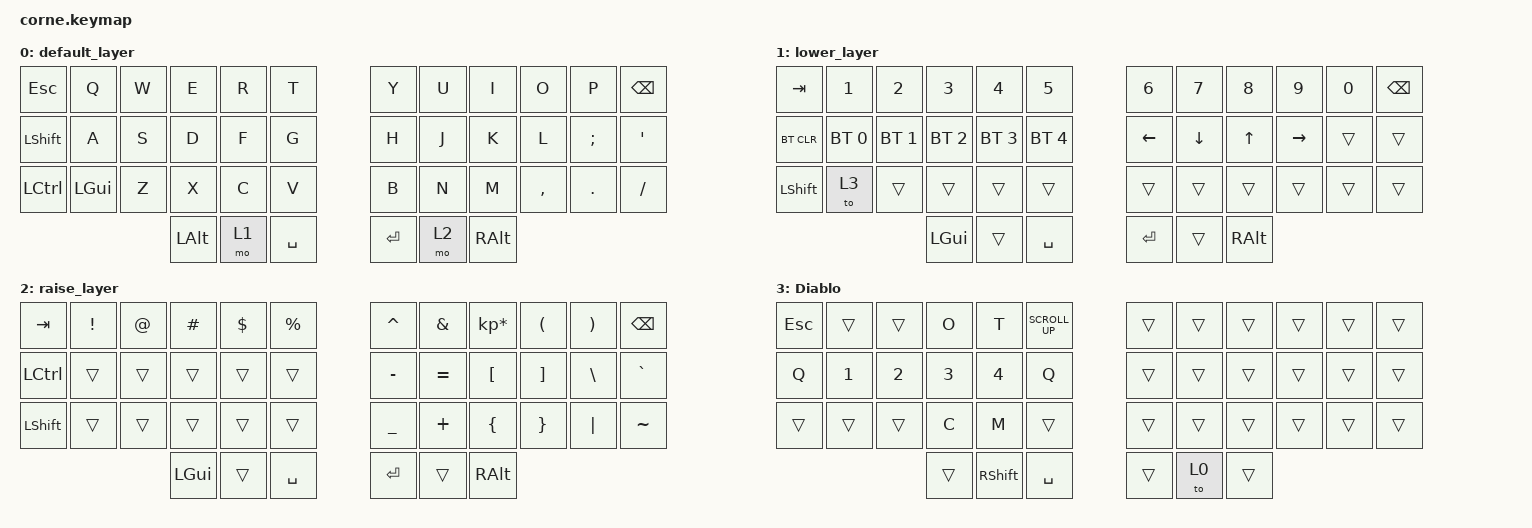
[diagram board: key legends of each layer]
/*
 * Copyright (c) 2020 The ZMK Contributors
 *
 * SPDX-License-Identifier: MIT
 */

#include <behaviors.dtsi>
#include <dt-bindings/zmk/bt.h>
#include <dt-bindings/zmk/keys.h>

/ {
    keymap {
        compatible = "zmk,keymap";

        default_layer {
            // -----------------------------------------------------------------------------------------
            // |  TAB |  Q  |  W  |  E  |  R  |  T  |   |  Y  |  U   |  I  |  O  |  P  | BKSP |
            // | CTRL |  A  |  S  |  D  |  F  |  G  |   |  H  |  J   |  K  |  L  |  ;  |  '   |
            // | SHFT |  Z  |  X  |  C  |  V  |  B  |   |  N  |  M   |  ,  |  .  |  /  | ESC  |
            //                    | GUI | LWR | SPC |   | ENT | RSE  | ALT |

            bindings = <
&kp ESC     &kp Q     &kp W  &kp E         &kp R  &kp T        &kp Y    &kp U  &kp I     &kp O      &kp P       &kp BSPC
&kp LSHIFT  &kp A     &kp S  &kp D         &kp F  &kp G        &kp H    &kp J  &kp K     &kp L      &kp SEMI    &kp SQT
&kp LCTRL   &kp LGUI  &kp Z  &kp X         &kp C  &kp V        &kp B    &kp N  &kp M     &kp COMMA  &kp PERIOD  &kp SLASH
                             &kp LEFT_ALT  &mo 1  &kp SPACE    &kp RET  &mo 2  &kp RALT
            >;
        };

        lower_layer {
            // -----------------------------------------------------------------------------------------
            // |  TAB |  1  |  2  |  3  |  4  |  5  |   |  6  |  7  |  8  |  9  |  0  | BKSP |
            // | BTCLR| BT1 | BT2 | BT3 | BT4 | BT5 |   | LFT | DWN |  UP | RGT |     |      |
            // | SHFT |     |     |     |     |     |   |     |     |     |     |     |      |
            //                    | GUI |     | SPC |   | ENT |     | ALT |

            bindings = <
&kp TAB     &kp N1        &kp N2        &kp N3        &kp N4        &kp N5          &kp N6    &kp N7    &kp N8    &kp N9     &kp N0  &kp BSPC
&bt BT_CLR  &bt BT_SEL 0  &bt BT_SEL 1  &bt BT_SEL 2  &bt BT_SEL 3  &bt BT_SEL 4    &kp LEFT  &kp DOWN  &kp UP    &kp RIGHT  &trans  &trans
&kp LSHFT   &to 3         &trans        &trans        &trans        &trans          &trans    &trans    &trans    &trans     &trans  &trans
                                        &kp LGUI      &trans        &kp SPACE       &kp RET   &trans    &kp RALT
            >;
        };

        raise_layer {
            // -----------------------------------------------------------------------------------------
            // |  TAB |  !  |  @  |  #  |  $  |  %  |   |  ^  |  &  |  *  |  (  |  )  | BKSP |
            // | CTRL |     |     |     |     |     |   |  -  |  =  |  [  |  ]  |  \  |  `   |
            // | SHFT |     |     |     |     |     |   |  _  |  +  |  {  |  }  | "|" |  ~   |
            //                    | GUI |     | SPC |   | ENT |     | ALT |

            bindings = <
&kp TAB    &kp EXCL  &kp AT  &kp HASH  &kp DLLR  &kp PRCNT    &kp CARET  &kp AMPS   &kp KP_MULTIPLY  &kp LPAR  &kp RPAR  &kp BSPC
&kp LCTRL  &trans    &trans  &trans    &trans    &trans       &kp MINUS  &kp EQUAL  &kp LBKT         &kp RBKT  &kp BSLH  &kp GRAVE
&kp LSHFT  &trans    &trans  &trans    &trans    &trans       &kp UNDER  &kp PLUS   &kp LBRC         &kp RBRC  &kp PIPE  &kp TILDE
                             &kp LGUI  &trans    &kp SPACE    &kp RET    &trans     &kp RALT
            >;
        };

        Diablo {
            bindings = <
&kp ESC  &trans        &trans        &kp O         &kp T            &kp K_SCROLL_UP    &trans  &trans  &trans  &trans  &trans  &trans
&kp Q    &kp NUMBER_1  &kp NUMBER_2  &kp NUMBER_3  &kp NUMBER_4     &kp Q              &trans  &trans  &trans  &trans  &trans  &trans
&trans   &trans        &trans        &kp C         &kp M            &trans             &trans  &trans  &trans  &trans  &trans  &trans
                                     &trans        &kp RIGHT_SHIFT  &kp SPACE          &trans  &to 0   &trans
            >;

            label = "Diablo";
        };
    };
};
